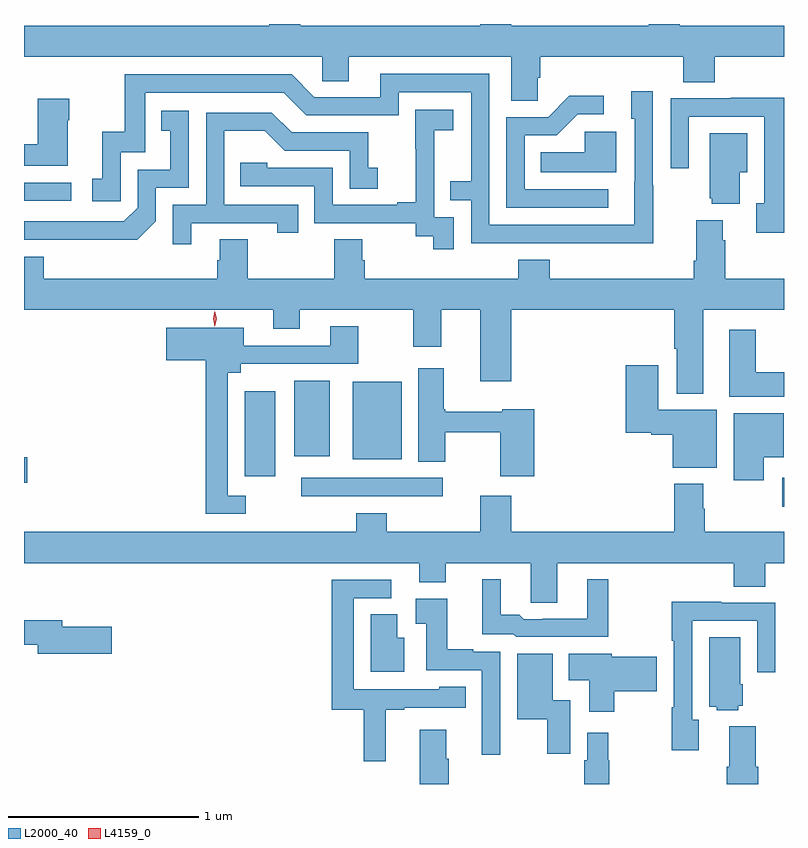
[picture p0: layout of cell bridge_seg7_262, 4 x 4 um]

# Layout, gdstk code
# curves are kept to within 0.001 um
import gdstk
lib = gdstk.Library(unit=1e-6, precision=1e-09)
def R(c, l, rs):  # rectangles x0, y0, x1, y1
    for r in rs: c.add(gdstk.rectangle(r[:2], r[2:], *l))
def P(c, l, *ps):  # polygons
    for p in ps: c.add(gdstk.Polygon(p, *l))
L2000_40 = (2000, 40)
L4159_0 = (4159, 0)

bridge_seg7_262 = lib.new_cell('bridge_seg7_262')
R(bridge_seg7_262, L2000_40, [(202.563,1032.881,202.572,1033.033), (200.031,1032.936,200.776,1033.032), (198.572,1033.007,198.589,1033.142), (199.733,1033.041,199.894,1033.489), (200.303,1033.13,200.56,1033.537), (199.994,1033.145,200.182,1033.543), (198.572,1034.49,198.82,1034.586)])
P(bridge_seg7_262, L2000_40, [(201.276,1035.139),(201.29,1035.139),(201.29,1035.248),(202.043,1035.248),(202.043,1035.115),(202.208,1035.115),(202.208,1035.248),(202.572,1035.248),(202.572,1035.412),(202.024,1035.412),(202.024,1035.421),(201.86,1035.421),(201.86,1035.412),(201.136,1035.412),(201.136,1035.421),(200.972,1035.421),(200.972,1035.412),(200.026,1035.412),(200.026,1035.421),(199.862,1035.421),(199.862,1035.412),(198.572,1035.412),(198.572,1035.248),(200.142,1035.248),(200.142,1035.121),(200.281,1035.121),(200.281,1035.248),(201.137,1035.248),(201.137,1035.016),(201.276,1035.016)],
  [(201.885,1034.573),(201.882,1034.573),(201.882,1035.067),(201.767,1035.067),(201.767,1034.922),(201.786,1034.922),(201.785,1034.364),(201.021,1034.364),(201.021,1035.159),(200.447,1035.159),(200.447,1035.036),(200.1,1035.036),(199.98,1035.156),(199.101,1035.156),(199.101,1034.853),(198.983,1034.853),(198.983,1034.607),(198.93,1034.607),(198.93,1034.487),(199.08,1034.487),(199.08,1034.745),(199.209,1034.745),(199.209,1035.06),(199.938,1035.06),(200.058,1034.94),(200.544,1034.94),(200.544,1035.063),(200.925,1035.063),(200.925,1034.594),(200.815,1034.594),(200.815,1034.493),(200.925,1034.493),(200.925,1034.268),(201.885,1034.267)],
  [(201.646,1034.55),(201.207,1034.55),(201.207,1034.835),(201.376,1034.835),(201.487,1034.946),(201.622,1034.946),(201.622,1035.044),(201.443,1035.044),(201.33,1034.931),(201.111,1034.931),(201.111,1034.454),(201.646,1034.454)],
  [(202.572,1035.032),(202.291,1035.032),(202.291,1035.03),(201.975,1035.03),(201.975,1034.661),(202.071,1034.661),(202.071,1034.934),(202.467,1034.934),(202.467,1034.478),(202.427,1034.478),(202.427,1034.322),(202.572,1034.322)],
  [(198.802,1034.915),(198.81,1034.915),(198.81,1035.028),(198.644,1035.028),(198.644,1034.789),(198.572,1034.789),(198.572,1034.675),(198.802,1034.675)],
  [(200.835,1034.403),(200.73,1034.403),(200.73,1034.632),(200.732,1034.632),(200.732,1034.861),(200.83,1034.861),(200.83,1034.971),(200.632,1034.971),(200.632,1034.765),(200.633,1034.765),(200.633,1034.482),(200.537,1034.482),(200.537,1034.469),(200.196,1034.469),(200.196,1034.664),(199.851,1034.664),(199.851,1034.691),(199.711,1034.691),(199.711,1034.568),(200.1,1034.568),(200.1,1034.373),(200.634,1034.373),(200.634,1034.305),(200.727,1034.305),(200.727,1034.235),(200.835,1034.235)],
  [(199.266,1034.382),(199.266,1034.559),(199.44,1034.559),(199.44,1034.965),(199.294,1034.965),(199.294,1034.859),(199.343,1034.859),(199.343,1034.655),(199.17,1034.655),(199.17,1034.454),(199.098,1034.382),(198.572,1034.382),(198.572,1034.286),(199.168,1034.285)],
  [(199.453,1034.373),(199.904,1034.373),(199.904,1034.322),(200.015,1034.322),(200.015,1034.469),(199.626,1034.469),(199.626,1034.858),(199.84,1034.858),(199.944,1034.754),(200.286,1034.754),(200.286,1034.555),(200.434,1034.555),(200.434,1034.665),(200.385,1034.665),(200.385,1034.85),(199.981,1034.85),(199.876,1034.955),(199.53,1034.955),(199.53,1034.469),(199.356,1034.469),(199.356,1034.262),(199.453,1034.262)],
  [(201.688,1034.854),(201.523,1034.854),(201.523,1034.746),(201.292,1034.746),(201.292,1034.642),(201.688,1034.642)],
  [(202.339,1034.642),(202.378,1034.642),(202.378,1034.845),(202.181,1034.845),(202.181,1034.505),(202.193,1034.505),(202.193,1034.474),(202.339,1034.474)],
  [(202.249,1034.282),(202.249,1034.389),(202.109,1034.389),(202.109,1034.176),(202.097,1034.176),(202.097,1034.08),(201.338,1034.08),(201.338,1034.179),(201.173,1034.179),(201.173,1034.08),(200.366,1034.08),(200.366,1034.178),(200.353,1034.178),(200.353,1034.288),(200.206,1034.288),(200.206,1034.08),(199.749,1034.08),(199.749,1034.288),(199.601,1034.288),(199.601,1034.178),(199.589,1034.178),(199.589,1034.08),(198.677,1034.08),(198.677,1034.197),(198.572,1034.197),(198.572,1033.916),(199.883,1033.916),(199.883,1033.817),(200.023,1033.817),(200.023,1033.916),(200.62,1033.916),(200.62,1033.722),(200.767,1033.722),(200.767,1033.916),(200.972,1033.916),(200.972,1033.542),(201.136,1033.542),(201.136,1033.916),(201.995,1033.916),(201.995,1033.711),(202.007,1033.711),(202.007,1033.475),(202.147,1033.475),(202.147,1033.916),(202.572,1033.916),(202.572,1034.08),(202.262,1034.08),(202.262,1034.282)],
  [(199.738,1032.939),(199.644,1032.939),(199.644,1033.586),(199.714,1033.586),(199.714,1033.632),(200.331,1033.632),(200.331,1033.831),(200.183,1033.831),(200.183,1033.728),(199.729,1033.728),(199.729,1033.822),(199.32,1033.822),(199.32,1033.652),(199.528,1033.652),(199.528,1032.843),(199.738,1032.843)],
  [(202.572,1033.588),(202.423,1033.588),(202.423,1033.813),(202.283,1033.813),(202.283,1033.46),(202.572,1033.46)],
  [(202.219,1033.39),(201.91,1033.39),(201.91,1033.624),(201.74,1033.624),(201.74,1033.271),(201.873,1033.271),(201.873,1033.259),(201.986,1033.259),(201.986,1033.085),(202.219,1033.085)],
  [(201.257,1033.393),(201.09,1033.393),(201.09,1033.381),(200.79,1033.381),(200.79,1033.393),(200.782,1033.393),(200.782,1033.609),(200.648,1033.609),(200.648,1033.117),(200.79,1033.117),(200.79,1033.272),(201.079,1033.272),(201.079,1033.041),(201.257,1033.041)],
  [(202.465,1033.142),(202.57,1033.142),(202.57,1033.372),(202.307,1033.372),(202.307,1033.02),(202.465,1033.02)],
  [(201.379,1032.584),(202.307,1032.584),(202.307,1032.46),(202.472,1032.46),(202.472,1032.584),(202.572,1032.584),(202.572,1032.748),(202.155,1032.748),(202.155,1032.869),(202.147,1032.869),(202.147,1033),(201.995,1033),(201.995,1032.748),(201.136,1032.748),(201.136,1032.937),(200.972,1032.937),(200.972,1032.748),(200.481,1032.748),(200.481,1032.847),(200.321,1032.847),(200.321,1032.748),(198.572,1032.748),(198.572,1032.584),(200.651,1032.584),(200.651,1032.482),(200.791,1032.482),(200.791,1032.584),(201.239,1032.584),(201.239,1032.376),(201.379,1032.376)],
  [(201.646,1032.499),(201.536,1032.499),(201.536,1032.291),(201.301,1032.291),(201.301,1032.288),(201.201,1032.288),(201.179,1032.311),(201.082,1032.311),(201.082,1032.499),(200.984,1032.499),(200.984,1032.21),(201.147,1032.21),(201.162,1032.195),(201.646,1032.195)],
  [(200.476,1031.811),(200.572,1031.811),(200.572,1031.823),(200.897,1031.823),(200.897,1031.932),(200.757,1031.932),(200.757,1031.919),(200.307,1031.919),(200.307,1032.399),(200.506,1032.399),(200.506,1032.495),(200.191,1032.495),(200.191,1031.811),(200.359,1031.811),(200.359,1031.541),(200.476,1031.541)],
  [(201.078,1032.117),(200.936,1032.117),(200.936,1032.13),(200.8,1032.13),(200.8,1032.397),(200.634,1032.397),(200.634,1032.265),(200.69,1032.265),(200.69,1032.021),(200.982,1032.021),(200.982,1031.574),(201.078,1031.574)],
  [(202.123,1031.759),(202.089,1031.759),(202.089,1032.279),(202.431,1032.279),(202.431,1032.009),(202.527,1032.009),(202.527,1032.375),(202.243,1032.375),(202.243,1032.379),(201.981,1032.379),(201.981,1032.175),(201.993,1032.175),(201.993,1031.825),(201.981,1031.825),(201.981,1031.598),(202.123,1031.598)],
  [(200.572,1032.19),(200.536,1032.19),(200.536,1032.314),(200.396,1032.314),(200.396,1032.011),(200.572,1032.011)],
  [(199.033,1032.249),(198.772,1032.249),(198.772,1032.283),(198.572,1032.283),(198.572,1032.154),(198.644,1032.154),(198.644,1032.107),(199.033,1032.107)],
  [(202.332,1031.832),(202.354,1031.832),(202.354,1031.946),(202.342,1031.946),(202.342,1032.194),(202.178,1032.194),(202.178,1031.828),(202.218,1031.828),(202.218,1031.81),(202.332,1031.81)],
  [(201.447,1031.863),(201.355,1031.863),(201.355,1032.106),(201.167,1032.106),(201.167,1031.762),(201.326,1031.762),(201.326,1031.58),(201.447,1031.58)],
  [(201.678,1031.909),(201.901,1031.909),(201.901,1032.092),(201.666,1032.092),(201.666,1032.106),(201.44,1032.106),(201.44,1031.966),(201.548,1031.966),(201.548,1031.802),(201.678,1031.802)],
  [(202.436,1031.512),(202.423,1031.512),(202.423,1031.725),(202.283,1031.725),(202.283,1031.512),(202.271,1031.512),(202.271,1031.421),(202.436,1031.421)],
  [(200.807,1031.553),(200.794,1031.553),(200.794,1031.707),(200.654,1031.707),(200.654,1031.421),(200.807,1031.421)],
  [(201.653,1031.546),(201.646,1031.546),(201.646,1031.692),(201.537,1031.692),(201.537,1031.546),(201.521,1031.546),(201.521,1031.421),(201.653,1031.421)])
P(bridge_seg7_262, L4159_0, [(199.576,1033.828),(199.576,1033.828),(199.567,1033.869),(199.577,1033.91),(199.577,1033.91),(199.577,1033.91),(199.586,1033.869),(199.576,1033.828)])

lib.write_gds('bridge_seg7_262.gds')
